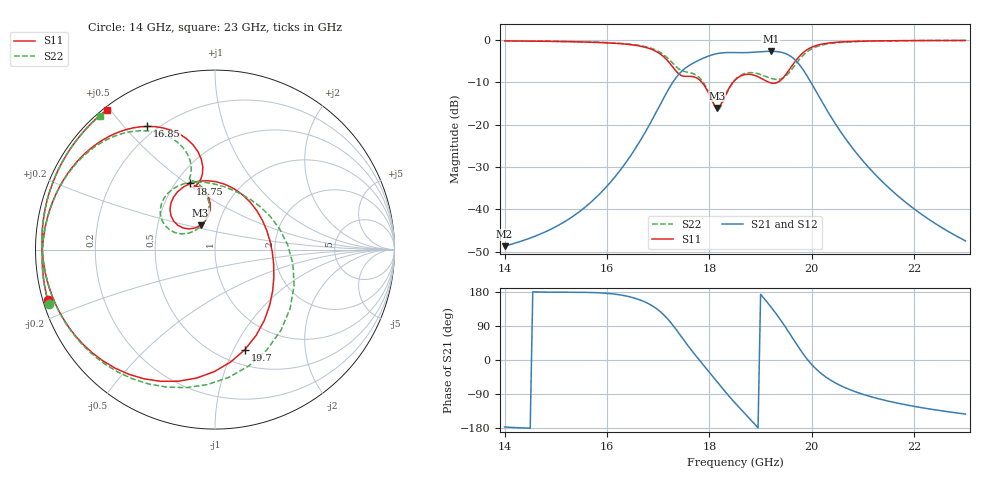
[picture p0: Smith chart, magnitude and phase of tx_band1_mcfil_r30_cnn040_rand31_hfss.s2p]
! Touchstone file exported from HFSS 3D Layout Design 2026.1.0
!  File:  D:/Work/SIM/ADS_AUTO_SIM/projects/RFSOC_RF/TX_Fillter.aedt
!  Generated:  02:27:50 AM Aug 31, 2026
!  Design:  TX_BAND1_MCFIL_R30_CNN040
!  Project:  TX_Fillter
# GHz S MA R 50.000000
! Terminal data exported
! Port[1] = Port1
! Port[2] = Port2
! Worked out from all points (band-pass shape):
!   181 points, 14 GHz to 23 GHz, reference 50 ohm
!   highest |S21| = -2.69 dB at 19.2 GHz (marker M1); lowest = -48.7 dB at 14 GHz (marker M2)
!   |S21| within 3 dB of the highest: 17.65 GHz to 19.75 GHz (2.095 GHz wide, 11.2 % of centre)
!   lowest |S11| = -16.1 dB at 18.15 GHz (marker M3), VSWR 1.37, Z = 41.1 + j11.4 ohm
!   |S11| at or under -10 dB: 17.85 GHz to 18.46 GHz (610.5 MHz wide, 3.36 % of centre); 19.16 GHz to 19.33 GHz (166.4 MHz wide, 0.865 % of centre)
!   |S22| runs from -16.4 to -0.1 dB; largest |S21 - S12| = 1.3e-14
!   S11 on the Smith chart (normalised r, x): 14 GHz: 0.01, -0.15; 16.85 GHz: 0.16, +0.58; 18.75 GHz: 0.59, +0.52; 19.7 GHz: 0.66, -1.11; 23 GHz: 0.01, +0.49
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14  0.9731 -163.1  0.003683 -176.8  0.003683 -176.8  0.9744 -161.8
15.5  0.9464 166.1  0.009803 178.6  0.009803 178.6  0.9497 168.7
16.25  0.9041 144.7  0.02858 171.9  0.02858 171.9  0.911 148.6
16.85  0.783 118.7  0.1051 145.7  0.1051 145.7  0.8014 124.7
17  0.7086 110.2  0.1553 132.1  0.1553 132.1  0.7346 116.9
17.25  0.5085 98.6  0.2922 98.0  0.2922 98.0  0.5568 106.2
17.5  0.3723 106.6  0.4488 52.6  0.4488 52.6  0.425 109.4
17.85  0.3177 98.7  0.5972 -7.9  0.5972 -7.9  0.335 100.1
18.15  0.1575 120.7  0.6893 -57.7  0.6893 -57.7  0.1507 123.7
18.3  0.2154 146.0  0.7073 -82.3  0.7073 -82.3  0.2077 155.1
18.5  0.3353 138.4  0.7084 -113.2  0.7084 -113.2  0.3368 151.2
18.75  0.3932 110.5  0.7089 -149.6  0.7089 -149.6  0.4093 130.0
19  0.3554 72.7  0.7247 173.1  0.7247 173.1  0.3904 105.0
19.2  0.3108 32.3  0.7339 140.4  0.7339 140.4  0.3523 80.5
19.45  0.3625 -25.2  0.7024 94.1  0.7024 94.1  0.359 31.0
19.7  0.5816 -73.4  0.5605 42.3  0.5605 42.3  0.5313 -37.9
19.85  0.7227 -98.1  0.4269 12.7  0.4269 12.7  0.6749 -73.8
20  0.8211 -118.7  0.3026 -12.2  0.3026 -12.2  0.7847 -101.6
20.25  0.9041 -144.0  0.1649 -42.6  0.1649 -42.6  0.884 -133.5
20.55  0.9438 -164.4  0.08483 -66.8  0.08483 -66.8  0.9338 -157.5
21.5  0.977 159.4  0.01807 -108.7  0.01807 -108.7  0.9753 163.0
23  0.9851 127.8  0.004258 -142.7  0.004258 -142.7  0.985 130.8
